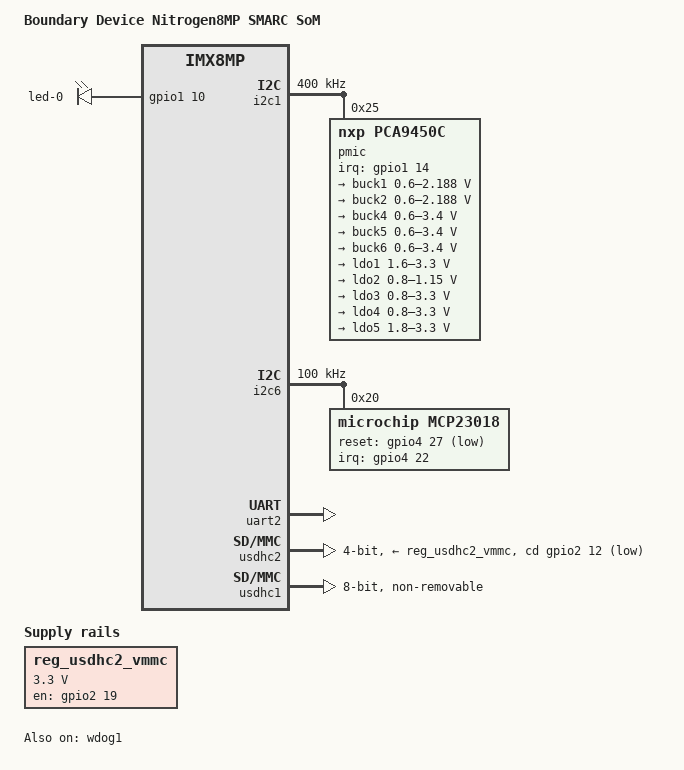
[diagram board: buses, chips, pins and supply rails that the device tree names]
// SPDX-License-Identifier: (GPL-2.0+ OR MIT)
/*
 * Copyright 2023 Boundary Devices
 * Copyright 2024 Silicon Signals Pvt. Ltd.
 *
 * Author : Bhavin Sharma <bhavin.sharma@siliconsignals.io>
 */

/dts-v1/;

#include <dt-bindings/leds/common.h>
#include "imx8mp.dtsi"

/ {
	model = "Boundary Device Nitrogen8MP SMARC SoM";
	compatible = "boundary,imx8mp-nitrogen-smarc-som", "fsl,imx8mp";

	chosen {
		stdout-path = &uart2;
	};

	leds {
		compatible = "gpio-leds";
		pinctrl-names = "default";
		pinctrl-0 = <&pinctrl_gpio_led>;

		led-0 {
			function = LED_FUNCTION_POWER;
			gpios = <&gpio1 10 GPIO_ACTIVE_HIGH>;
			linux,default-trigger = "heartbeat";
		};
	};

	reg_usdhc2_vmmc: regulator-usdhc2-vmmc {
	        compatible = "regulator-fixed";
	        regulator-name = "VSD_3V3";
	        regulator-min-microvolt = <3300000>;
	        regulator-max-microvolt = <3300000>;
	        gpios = <&gpio2 19 GPIO_ACTIVE_HIGH>;
	        enable-active-high;
	};
};

&A53_0 {
        cpu-supply = <&buck2>;
};

&A53_1 {
        cpu-supply = <&buck2>;
};

&A53_2 {
        cpu-supply = <&buck2>;
};

&A53_3 {
        cpu-supply = <&buck2>;
};

&i2c1 {
	clock-frequency = <400000>;
	pinctrl-names = "default";
	pinctrl-0 = <&pinctrl_i2c1>;
	status = "okay";

	pmic@25 {
		compatible = "nxp,pca9450c";
		reg = <0x25>;
		pinctrl-names = "default";
		pinctrl-0 = <&pinctrl_pmic>;
		interrupt-parent = <&gpio1>;
		interrupts = <14 IRQ_TYPE_LEVEL_LOW>;

		regulators {
			buck1: BUCK1 {
				regulator-name = "BUCK1";
				regulator-min-microvolt = <600000>;
				regulator-max-microvolt = <2187500>;
				regulator-boot-on;
				regulator-always-on;
				regulator-ramp-delay = <3125>;
			};

			buck2: BUCK2 {
				regulator-name = "BUCK2";
				regulator-min-microvolt = <600000>;
				regulator-max-microvolt = <2187500>;
				regulator-boot-on;
				regulator-always-on;
				regulator-ramp-delay = <3125>;
				nxp,dvs-run-voltage = <950000>;
				nxp,dvs-standby-voltage = <850000>;
			};

			buck4: BUCK4 {
				regulator-name = "BUCK4";
				regulator-min-microvolt = <600000>;
				regulator-max-microvolt = <3400000>;
				regulator-boot-on;
				regulator-always-on;
			};

			buck5: BUCK5 {
				regulator-name = "BUCK5";
				regulator-min-microvolt = <600000>;
				regulator-max-microvolt = <3400000>;
				regulator-boot-on;
				regulator-always-on;
			};

			buck6: BUCK6 {
				regulator-name = "BUCK6";
				regulator-min-microvolt = <600000>;
				regulator-max-microvolt = <3400000>;
				regulator-boot-on;
				regulator-always-on;
			};

			ldo1: LDO1 {
				regulator-name = "LDO1";
				regulator-min-microvolt = <1600000>;
				regulator-max-microvolt = <3300000>;
				regulator-boot-on;
				regulator-always-on;
			};

			ldo2: LDO2 {
				regulator-name = "LDO2";
				regulator-min-microvolt = <800000>;
				regulator-max-microvolt = <1150000>;
				regulator-boot-on;
				regulator-always-on;
			};

			ldo3: LDO3 {
				regulator-name = "LDO3";
				regulator-min-microvolt = <800000>;
				regulator-max-microvolt = <3300000>;
				regulator-boot-on;
				regulator-always-on;
			};

			ldo4: LDO4 {
				regulator-name = "LDO4";
				regulator-min-microvolt = <800000>;
				regulator-max-microvolt = <3300000>;
				regulator-boot-on;
				regulator-always-on;
			};

			ldo5: LDO5 {
				regulator-name = "LDO5";
				regulator-min-microvolt = <1800000>;
				regulator-max-microvolt = <3300000>;
				regulator-boot-on;
				regulator-always-on;
			};
		};
	};
};

&i2c6 {
	clock-frequency = <100000>;
	pinctrl-names = "default";
	pinctrl-0 = <&pinctrl_i2c6>;
	status = "okay";

	mcp23018: gpio@20 {
		compatible = "microchip,mcp23018";
		gpio-controller;
		#gpio-cells = <0x2>;
		reg = <0x20>;
		interrupts-extended = <&gpio4 22 IRQ_TYPE_LEVEL_LOW>;
		interrupt-controller;
		#interrupt-cells = <0x2>;
		microchip,irq-mirror;
		pinctrl-names = "default";
		pinctrl-0 = <&pinctrl_mcp23018>;
		reset-gpios = <&gpio4 27 GPIO_ACTIVE_LOW>;
	};
};

/* Console */
&uart2 {
	pinctrl-names = "default";
	pinctrl-0 = <&pinctrl_uart2>;
	status = "okay";
};

/* SD-card */
&usdhc2 {
	pinctrl-names = "default", "state_100mhz", "state_200mhz";
	pinctrl-0 = <&pinctrl_usdhc2>;
	pinctrl-1 = <&pinctrl_usdhc2_100mhz>;
	pinctrl-2 = <&pinctrl_usdhc2_200mhz>;
	cd-gpios = <&gpio2 12 GPIO_ACTIVE_LOW>;
	vmmc-supply = <&reg_usdhc2_vmmc>;
	bus-width = <4>;
	status = "okay";
};

/* eMMC */
&usdhc1 {
	pinctrl-names = "default", "state_100mhz", "state_200mhz";
	pinctrl-0 = <&pinctrl_usdhc1>;
	pinctrl-1 = <&pinctrl_usdhc1_100mhz>;
	pinctrl-2 = <&pinctrl_usdhc1_200mhz>;
	bus-width = <8>;
	non-removable;
	status = "okay";
};

&wdog1 {
	pinctrl-names = "default";
	pinctrl-0 = <&pinctrl_wdog>;
	fsl,ext-reset-output;
	status = "okay";
};

&iomuxc {
	pinctrl_gpio_led: gpioledgrp {
		fsl,pins = <
		        MX8MP_IOMUXC_GPIO1_IO10__GPIO1_IO10                     	0x19
		>;
	};

	pinctrl_i2c1: i2c1grp {
		fsl,pins = <
			MX8MP_IOMUXC_I2C1_SCL__I2C1_SCL					0x400001c3
			MX8MP_IOMUXC_I2C1_SDA__I2C1_SDA					0x400001c3
		>;
	};

	pinctrl_i2c6: i2c6grp {
		fsl,pins = <
		        MX8MP_IOMUXC_SAI5_RXFS__I2C6_SCL            			0x400001c3
		        MX8MP_IOMUXC_SAI5_RXC__I2C6_SDA                 		0x400001c3
		>;
	};

	pinctrl_mcp23018: mcp23018grp {
		fsl,pins = <
		        MX8MP_IOMUXC_SAI2_RXC__GPIO4_IO22            			0x1c0
			MX8MP_IOMUXC_SAI2_MCLK__GPIO4_IO27             			0x100
		>;
	};

	pinctrl_pmic: pmicgrp {
		fsl,pins = <
			MX8MP_IOMUXC_GPIO1_IO14__GPIO1_IO14				0x1c0
		>;
	};

	pinctrl_uart2: uart2grp {
		fsl,pins = <
			MX8MP_IOMUXC_UART2_RXD__UART2_DCE_RX                            0x40
			MX8MP_IOMUXC_UART2_TXD__UART2_DCE_TX                            0x40
		>;
	};

	pinctrl_usdhc1: usdhc1grp {
		fsl,pins = <
			MX8MP_IOMUXC_SD1_CLK__USDHC1_CLK        			0x10
			MX8MP_IOMUXC_SD1_CMD__USDHC1_CMD        			0x150
			MX8MP_IOMUXC_SD1_DATA0__USDHC1_DATA0    			0x150
			MX8MP_IOMUXC_SD1_DATA1__USDHC1_DATA1    			0x150
			MX8MP_IOMUXC_SD1_DATA2__USDHC1_DATA2    			0x150
			MX8MP_IOMUXC_SD1_DATA3__USDHC1_DATA3    			0x150
			MX8MP_IOMUXC_SD1_DATA4__USDHC1_DATA4    			0x150
			MX8MP_IOMUXC_SD1_DATA5__USDHC1_DATA5    			0x150
			MX8MP_IOMUXC_SD1_DATA6__USDHC1_DATA6    			0x150
			MX8MP_IOMUXC_SD1_DATA7__USDHC1_DATA7    			0x150
			MX8MP_IOMUXC_SD1_STROBE__USDHC1_STROBE  			0x10
			MX8MP_IOMUXC_SD1_RESET_B__USDHC1_RESET_B 			0x140
		>;
	};

	pinctrl_usdhc1_100mhz: usdhc1-100mhzgrp {
		fsl,pins = <
			MX8MP_IOMUXC_SD1_CLK__USDHC1_CLK        			0x14
			MX8MP_IOMUXC_SD1_CMD__USDHC1_CMD        			0x154
			MX8MP_IOMUXC_SD1_DATA0__USDHC1_DATA0    			0x154
			MX8MP_IOMUXC_SD1_DATA1__USDHC1_DATA1    			0x154
			MX8MP_IOMUXC_SD1_DATA2__USDHC1_DATA2    			0x154
			MX8MP_IOMUXC_SD1_DATA3__USDHC1_DATA3    			0x154
			MX8MP_IOMUXC_SD1_DATA4__USDHC1_DATA4    			0x154
			MX8MP_IOMUXC_SD1_DATA5__USDHC1_DATA5    			0x154
			MX8MP_IOMUXC_SD1_DATA6__USDHC1_DATA6    			0x154
			MX8MP_IOMUXC_SD1_DATA7__USDHC1_DATA7    			0x154
			MX8MP_IOMUXC_SD1_STROBE__USDHC1_STROBE  			0x14
		>;
	};

	pinctrl_usdhc1_200mhz: usdhc1-200mhzgrp {
		fsl,pins = <
			MX8MP_IOMUXC_SD1_CLK__USDHC1_CLK        			0x12
			MX8MP_IOMUXC_SD1_CMD__USDHC1_CMD        			0x152
			MX8MP_IOMUXC_SD1_DATA0__USDHC1_DATA0    			0x152
			MX8MP_IOMUXC_SD1_DATA1__USDHC1_DATA1    			0x152
			MX8MP_IOMUXC_SD1_DATA2__USDHC1_DATA2    			0x152
			MX8MP_IOMUXC_SD1_DATA3__USDHC1_DATA3    			0x152
			MX8MP_IOMUXC_SD1_DATA4__USDHC1_DATA4    			0x152
			MX8MP_IOMUXC_SD1_DATA5__USDHC1_DATA5    			0x152
			MX8MP_IOMUXC_SD1_DATA6__USDHC1_DATA6    			0x152
			MX8MP_IOMUXC_SD1_DATA7__USDHC1_DATA7    			0x152
			MX8MP_IOMUXC_SD1_STROBE__USDHC1_STROBE  			0x12
		>;
	};

	pinctrl_usdhc2: usdhc2grp {
		fsl,pins = <
			MX8MP_IOMUXC_SD2_CLK__USDHC2_CLK                                0x190
			MX8MP_IOMUXC_SD2_CMD__USDHC2_CMD                                0x1d0
			MX8MP_IOMUXC_SD2_DATA0__USDHC2_DATA0                            0x1d0
			MX8MP_IOMUXC_SD2_DATA1__USDHC2_DATA1                            0x1d0
			MX8MP_IOMUXC_SD2_DATA2__USDHC2_DATA2                            0x1d0
			MX8MP_IOMUXC_SD2_DATA3__USDHC2_DATA3                            0x1d0
		>;
	};

	pinctrl_usdhc2_100mhz: usdhc2-100mhzgrp {
		fsl,pins = <
			MX8MP_IOMUXC_SD2_CLK__USDHC2_CLK                                0x194
			MX8MP_IOMUXC_SD2_CMD__USDHC2_CMD                                0x1d4
			MX8MP_IOMUXC_SD2_DATA0__USDHC2_DATA0                            0x1d4
			MX8MP_IOMUXC_SD2_DATA1__USDHC2_DATA1                            0x1d4
			MX8MP_IOMUXC_SD2_DATA2__USDHC2_DATA2                            0x1d4
			MX8MP_IOMUXC_SD2_DATA3__USDHC2_DATA3                            0x1d4
		>;
	};

	pinctrl_usdhc2_200mhz: usdhc2-200mhzgrp {
		fsl,pins = <
			MX8MP_IOMUXC_SD2_CLK__USDHC2_CLK                                0x196
			MX8MP_IOMUXC_SD2_CMD__USDHC2_CMD                                0x1d6
			MX8MP_IOMUXC_SD2_DATA0__USDHC2_DATA0                            0x1d6
			MX8MP_IOMUXC_SD2_DATA1__USDHC2_DATA1                            0x1d6
			MX8MP_IOMUXC_SD2_DATA2__USDHC2_DATA2                            0x1d6
			MX8MP_IOMUXC_SD2_DATA3__USDHC2_DATA3                            0x1d6
		>;
	};

	pinctrl_wdog: wdoggrp {
		fsl,pins = <
			MX8MP_IOMUXC_GPIO1_IO02__WDOG1_WDOG_B				0x140
		>;
	};
};
